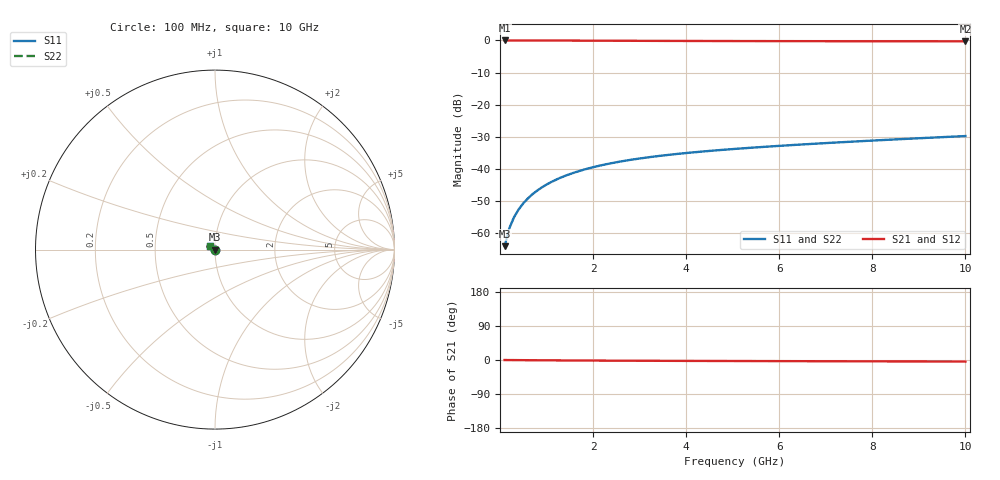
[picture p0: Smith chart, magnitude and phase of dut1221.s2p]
! Touchstone file exported from HFSS 2024.1.0
!  File:  C:/UserFiles/LocalFiles/RDL_TSV_Batchsim/temp_TSV1_1221_1780249459.aedt
!  Generated:  01:50:27 AM Jun  1, 2026
!  Design:  TSV1
!  Project:  temp_TSV1_1221_1780249459
!  Setup:  Setup1
!  Solution:  Sweep
! Variables:
!  dtsv = 7.11um
!  hbump = 3um
!  htsv = 58.51um
!  lrdl = 252.1521522um
!  p = 40
!  p1 = 55.09um
!  t = 500um
!  trdl = 3um
!  wrdl = 24.89489489um
# GHz S MA R 50.000000
! Terminal data exported
! Port[1] = TSV22_T1
! Port[2] = TSV22_T2
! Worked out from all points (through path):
!   100 points, 100 MHz to 10 GHz, reference 50 ohm
!   highest |S21| = 0.00 dB at 100 MHz (marker M1); lowest = -0.3 dB at 10 GHz (marker M2)
!   lowest |S11| = -64.0 dB at 100 MHz (marker M3), VSWR 1.00, Z = 50 - j0.0592 ohm
!   |S11| at or under -10 dB: start of sweep to end of sweep
!   |S22| runs from -64.0 to -29.8 dB; largest |S21 - S12| = 5.1e-15
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0.1  0.0006287 -70.3  0.9997 -0.1  0.9997 -0.1  0.0006287 -70.3
! Gamma 0 0 0 0
! Port Impedance 50 0 50 0
0.2  0.001188 -83.4  0.9997 -0.2  0.9997 -0.2  0.001188 -83.4
0.3  0.001761 -89.6  0.9995 -0.3  0.9995 -0.3  0.001761 -89.6
0.4  0.002337 -94.0  0.9993 -0.4  0.9993 -0.4  0.002337 -93.9
0.5  0.002911 -97.5  0.9991 -0.4  0.9991 -0.4  0.002911 -97.5
0.6  0.003483 -100.6  0.9988 -0.5  0.9988 -0.5  0.003483 -100.6
0.7  0.00405 -103.5  0.9985 -0.6  0.9985 -0.6  0.00405 -103.5
0.8  0.004611 -106.2  0.9981 -0.7  0.9981 -0.7  0.004611 -106.2
0.9  0.005166 -108.8  0.9978 -0.8  0.9978 -0.8  0.005166 -108.8
1.1  0.006252 -113.7  0.9969 -0.9  0.9969 -0.9  0.006252 -113.7
1.4  0.00781 -120.6  0.9954 -1.1  0.9954 -1.1  0.00781 -120.6
1.6  0.008797 -124.9  0.9943 -1.3  0.9943 -1.3  0.008797 -124.9
1.8  0.009741 -129.1  0.9932 -1.4  0.9932 -1.4  0.009741 -129.1
2.1  0.01108 -135.1  0.9915 -1.6  0.9915 -1.6  0.01108 -135.1
2.5  0.01271 -142.5  0.9892 -1.8  0.9892 -1.8  0.01271 -142.5
2.9  0.0142 -149.4  0.987 -2.0  0.987 -2.0  0.0142 -149.4
3.4  0.01588 -157.2  0.9845 -2.2  0.9845 -2.2  0.01588 -157.2
4.2  0.01826 -168.2  0.981 -2.4  0.981 -2.4  0.01826 -168.2
5.1  0.02065 -178.7  0.978 -2.7  0.978 -2.7  0.02065 -178.7
6.7  0.02455 166.3  0.9742 -3.2  0.9742 -3.2  0.02455 166.3
8.4  0.02861 154.3  0.9715 -3.7  0.9715 -3.7  0.02861 154.3
10  0.03251 145.4  0.9698 -4.2  0.9698 -4.2  0.03251 145.4
